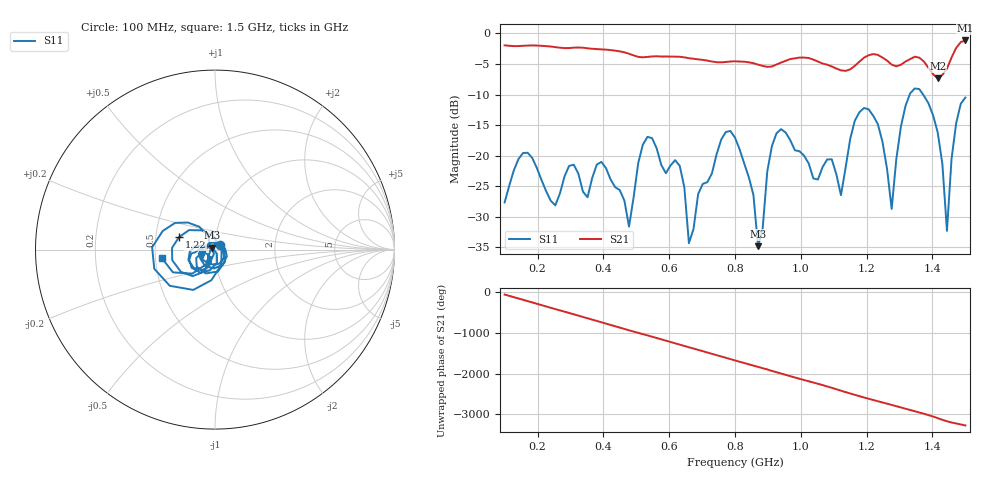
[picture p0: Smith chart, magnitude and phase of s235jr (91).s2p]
! NanoVNA-App
! Date: 2025-09-26 09:45:30
! Start: 100MHz Stop: 1,5GHz Points: 101
! S-Parameter data: F S11 S21 S12 S22
# Hz S RI R 50
!  Frequency  S11_Real  S11_Imag  S21_Real  S21_Imag  S12_Real  S12_Imag  S22_Real  S22_Imag
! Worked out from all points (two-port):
!   101 points, 100 MHz to 1.5 GHz, reference 50 ohm
!   highest |S21| = -1.15 dB at 1.5 GHz (marker M1); lowest = -7.4 dB at 1.416 GHz (marker M2)
!   |S21| within 3 dB of the highest: start of sweep to 674.5 MHz; 1.188 GHz to 1.254 GHz (65.79 MHz wide, 5.39 % of centre)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
!   lowest |S11| = -34.8 dB at 870 MHz (marker M3), VSWR 1.04, Z = 48.5 + j1.01 ohm
!   |S11| at or under -10 dB: start of sweep to 1.331 GHz; 1.372 GHz to end of sweep
!   S12 and S22 are empty: the file has one direction only
!   S11 on the Smith chart (normalised r, x): 100 MHz: 1.06, +0.06; 1.22 GHz: 0.66, +0.10; 1.5 GHz: 0.54, -0.06
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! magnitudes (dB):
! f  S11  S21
! 100 MHz  -27.6  -2.0
! 156 MHz  -19.6  -2.0
! 338 MHz  -25.9  -2.3
! 394 MHz  -21.0  -2.6
! 478 MHz  -31.6  -3.3
! 520 MHz  -18.2  -3.9
! 576 MHz  -21.5  -3.8
! 632 MHz  -21.6  -3.8
! 660 MHz  -34.3  -4.1
! 800 MHz  -17.0  -4.6
! 870 MHz  -34.8  -5.1
! 926 MHz  -16.3  -5.1
! 1.038 GHz  -23.7  -4.3
! 1.122 GHz  -26.5  -6.0
! 1.164 GHz  -14.3  -5.3
! 1.22 GHz  -13.5  -3.4
! 1.276 GHz  -28.7  -5.1
! 1.332 GHz  -9.8  -4.2
! 1.416 GHz  -16.2  -7.4
! 1.444 GHz  -32.3  -5.8
! 1.472 GHz  -14.7  -2.4
! 1.5 GHz  -10.5  -1.2
